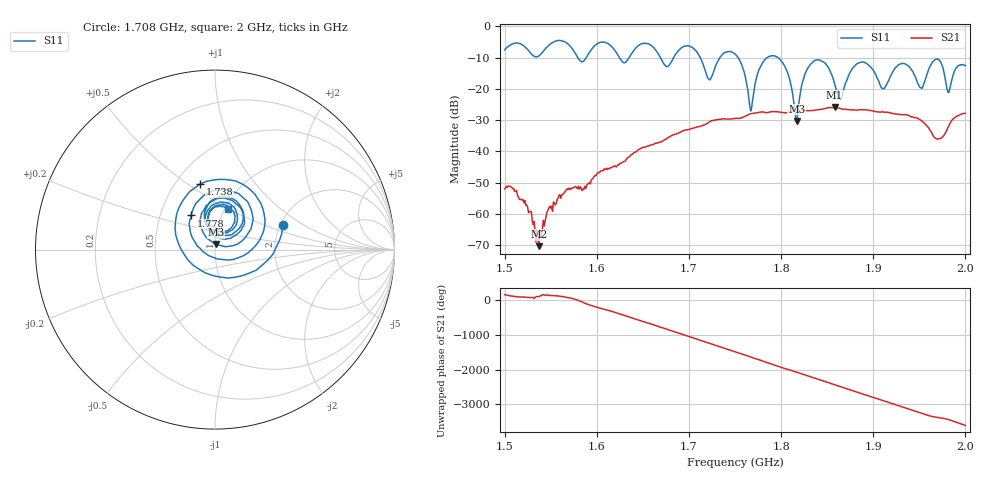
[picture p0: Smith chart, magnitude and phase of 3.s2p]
! NanoVNA-App by SYSJOINT et al v1.1.209 (+OD18)
! Date: 2026-01-21 14:31:17
! Start: 1,5GHz Stop: 2GHz Points: 501
! S-Parameter data: F S11 S21 S12 S22
# Hz S RI R 50
!  Frequency  S11_Real  S11_Imag  S21_Real  S21_Imag  S12_Real  S12_Imag  S22_Real  S22_Imag
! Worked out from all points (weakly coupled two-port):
!   501 points, 1.5 GHz to 2 GHz, reference 50 ohm
!   highest |S21| = -25.95 dB at 1.858 GHz (marker M1); lowest = -70.4 dB at 1.537 GHz (marker M2)
!   lowest |S11| = -30.3 dB at 1.817 GHz (marker M3), VSWR 1.06, Z = 50.5 + j3.04 ohm
!   |S11| at or under -10 dB: 1.712 GHz to 1.734 GHz (21.22 MHz wide, 1.23 % of centre); 1.753 GHz to 1.785 GHz (31.54 MHz wide, 1.78 % of centre); 1.797 GHz to end of sweep (the widest 3 of 6)
!   S12 and S22 are empty: the file has one direction only
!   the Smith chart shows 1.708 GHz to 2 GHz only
!   S11 on the Smith chart (normalised r, x): 1.708 GHz: 2.07, +0.67; 1.738 GHz: 0.66, +0.56; 1.778 GHz: 0.72, +0.29; 2 GHz: 1.03, +0.49
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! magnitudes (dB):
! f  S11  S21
! 1.5 GHz  -7.5  -52.0
! 1.537 GHz  -9.5  -70.4
! 1.584 GHz  -11.4  -52.5
! 1.667 GHz  -8.9  -37.2
! 1.708 GHz  -7.9  -32.2
! 1.722 GHz  -17.0  -30.6
! 1.738 GHz  -8.5  -29.5
! 1.75 GHz  -8.8  -29.4
! 1.767 GHz  -27.1  -27.9
! 1.778 GHz  -12.7  -27.4
! 1.801 GHz  -11.3  -27.6
! 1.817 GHz  -30.3  -27.1
! 1.834 GHz  -11.5  -26.9
! 1.858 GHz  -18.3  -25.9
! 1.864 GHz  -23.3  -26.3
! 1.888 GHz  -11.4  -26.7
! 1.917 GHz  -17.2  -27.6
! 1.933 GHz  -11.9  -28.2
! 1.952 GHz  -19.7  -30.1
! 1.97 GHz  -10.4  -36.0
! 1.982 GHz  -21.2  -31.9
! 2 GHz  -12.5  -27.8
